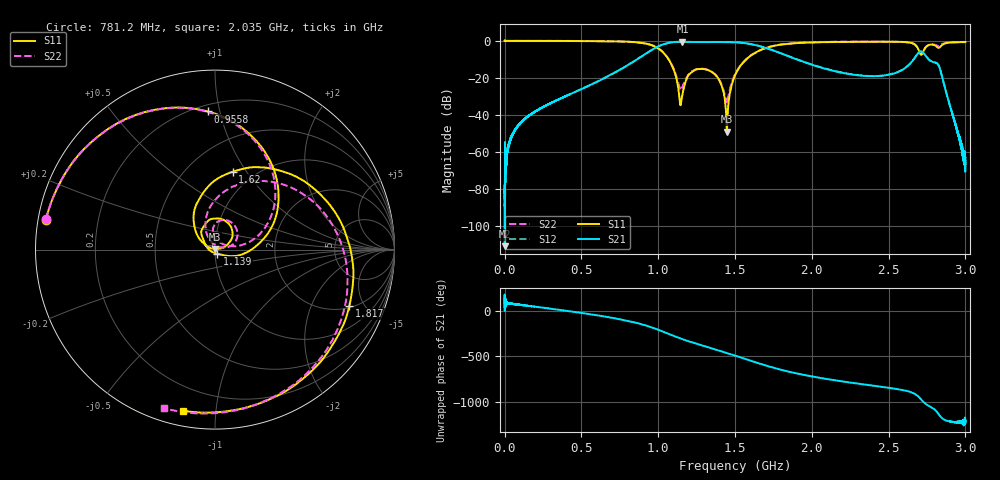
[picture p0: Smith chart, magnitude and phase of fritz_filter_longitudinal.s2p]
#  HZ  S  DB  R  50.00
! Rohde & Schwarz Vector Network Analyzer
! Rohde-Schwarz,ZNL14-2Port,1323001214101034,1.40.1.1-21.04.2.40
! Created: UTC 11/13/2024, 2:26:04 PM
! freq[Hz]  db:S11  ang:S11  db:S21  ang:S21  db:S12  ang:S12  db:S22  ang:S22
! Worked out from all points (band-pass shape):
!   10001 points, 5 kHz to 3 GHz, reference 50 ohm
!   highest |S21| = -0.50 dB at 1.158 GHz (marker M1); lowest = -111.1 dB at 1.205 MHz (marker M2)
!   |S21| within 3 dB of the highest: 988.2 MHz to 1.689 GHz (700.7 MHz wide, 52.3 % of centre)
!   lowest |S11| = -49.2 dB at 1.447 GHz (marker M3), VSWR 1.01, Z = 50.1 + j0.33 ohm
!   |S11| at or under -10 dB: 1.068 GHz to 1.574 GHz (505.8 MHz wide, 38.3 % of centre)
!   |S22| runs from -33.2 to 0.2 dB; largest |S21 - S12| = 0.0062
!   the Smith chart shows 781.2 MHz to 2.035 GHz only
!   S11 on the Smith chart (normalised r, x): 781.2 MHz: 0.02, +0.09; 955.8 MHz: 0.24, +0.92; 1.139 GHz: 1.02, -0.05; 1.62 GHz: 0.80, +0.87; 1.817 GHz: 2.11, -3.88; 2.035 GHz: 0.07, -0.82
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5000  -0.00 0.0  -80.39 45.1  -81.36 105.2  0.01 -0.0
1204998  -0.00 -0.2  -111.12 1.1  -79.69 118.5  0.01 -0.3
3.150495e7  -0.00 -6.8  -55.12 83.8  -54.83 82.3  -0.00 -6.6
9.660484e7  -0.00 -20.5  -44.83 69.5  -45.18 69.9  -0.00 -20.2
5.001042e8  -0.08 -110.6  -26.11 -20.9  -26.06 -21.1  -0.06 -110.0
7.812037e8  -0.39 170.0  -14.15 -101.1  -14.13 -101.5  -0.38 169.8
9.558034e8  -2.26 93.0  -5.02 -178.9  -5.05 -179.0  -2.29 93.2
1.000203e9  -4.06 65.5  -2.99 153.7  -3.02 153.6  -4.07 66.8
1.138803e9  -31.46 -61.5  -0.51 61.5  -0.51 61.4  -25.13 32.3
1.157703e9  -28.92 178.1  -0.50 50.2  -0.50 50.1  -25.15 80.8
1.324203e9  -15.82 60.4  -0.64 -38.4  -0.64 -38.5  -15.72 42.1
1.446903e9  -49.17 71.3  -0.61 -101.9  -0.60 -102.0  -33.06 65.3
1.500002e9  -18.64 143.0  -0.74 -130.5  -0.74 -130.7  -18.19 114.7
1.619702e9  -7.04 77.3  -1.99 163.2  -2.03 163.0  -6.93 58.2
1.817402e9  -1.81 -22.7  -7.33 65.8  -7.31 66.1  -1.76 -34.0
2.000102e9  -0.84 -90.5  -12.85 -0.1  -12.80 0.2  -0.73 -97.6
2.034602e9  -0.77 -101.1  -13.78 -10.7  -13.71 -10.4  -0.65 -107.9
2.263501e9  -0.50 -162.1  -18.20 -70.9  -18.14 -71.1  -0.42 -167.4
2.500201e9  -0.46 144.3  -18.34 -125.6  -18.26 -126.6  -0.43 139.1
2.7168e9  -7.23 112.5  -5.84 95.2  -5.82 94.9  -7.02 107.2
2.8164e9  -3.41 93.4  -12.16 -35.4  -12.16 -35.8  -2.66 89.6
3e9  -0.59 62.6  -63.36 -130.1  -65.06 -143.1  -0.69 53.5
